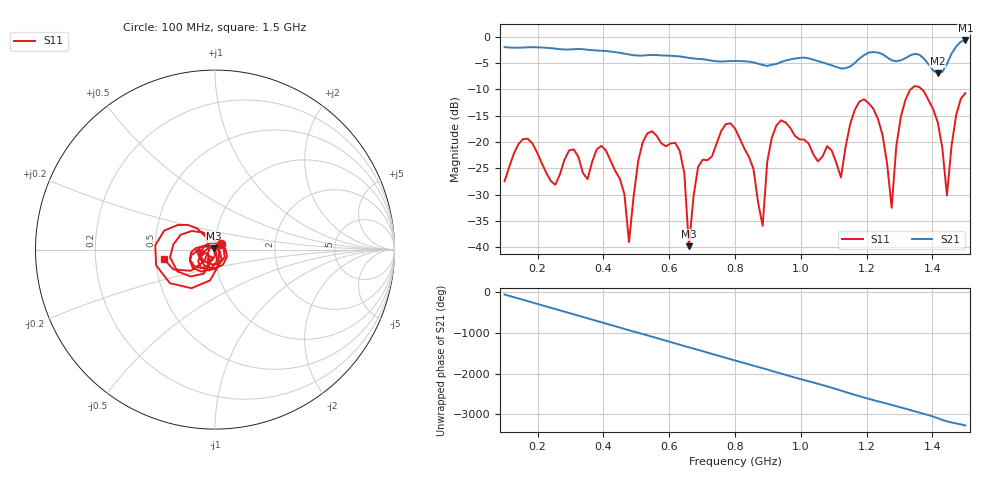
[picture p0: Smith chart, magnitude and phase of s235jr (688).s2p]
! NanoVNA-App
! Date: 2025-09-25 15:09:31
! Start: 100MHz Stop: 1,5GHz Points: 101
! S-Parameter data: F S11 S21 S12 S22
# Hz S RI R 50
!  Frequency  S11_Real  S11_Imag  S21_Real  S21_Imag  S12_Real  S12_Imag  S22_Real  S22_Imag
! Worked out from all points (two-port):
!   101 points, 100 MHz to 1.5 GHz, reference 50 ohm
!   highest |S21| = -0.70 dB at 1.5 GHz (marker M1); lowest = -7.0 dB at 1.416 GHz (marker M2)
!   |S21| within 3 dB of the highest: start of sweep to 625.3 MHz; 1.187 GHz to 1.257 GHz (69.8 MHz wide, 5.71 % of centre) (the widest 2 of 4)
!   lowest |S11| = -39.8 dB at 660 MHz (marker M3), VSWR 1.02, Z = 49.2 + j0.606 ohm
!   |S11| at or under -10 dB: start of sweep to 1.334 GHz; 1.368 GHz to end of sweep
!   S12 and S22 are empty: the file has one direction only
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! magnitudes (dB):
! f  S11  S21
! 100 MHz  -27.5  -2.0
! 156 MHz  -19.5  -2.0
! 338 MHz  -25.9  -2.4
! 408 MHz  -21.6  -2.7
! 478 MHz  -39.0  -3.4
! 520 MHz  -20.0  -3.6
! 576 MHz  -20.2  -3.5
! 632 MHz  -21.7  -3.7
! 660 MHz  -39.8  -4.0
! 688 MHz  -24.7  -4.2
! 800 MHz  -17.5  -4.6
! 884 MHz  -36.0  -5.4
! 926 MHz  -16.8  -5.2
! 1.038 GHz  -22.4  -4.3
! 1.122 GHz  -26.7  -6.0
! 1.192 GHz  -11.9  -3.5
! 1.248 GHz  -18.6  -3.3
! 1.276 GHz  -32.5  -4.5
! 1.332 GHz  -10.1  -3.5
! 1.416 GHz  -16.3  -7.0
! 1.444 GHz  -30.2  -5.1
! 1.5 GHz  -10.7  -0.7
